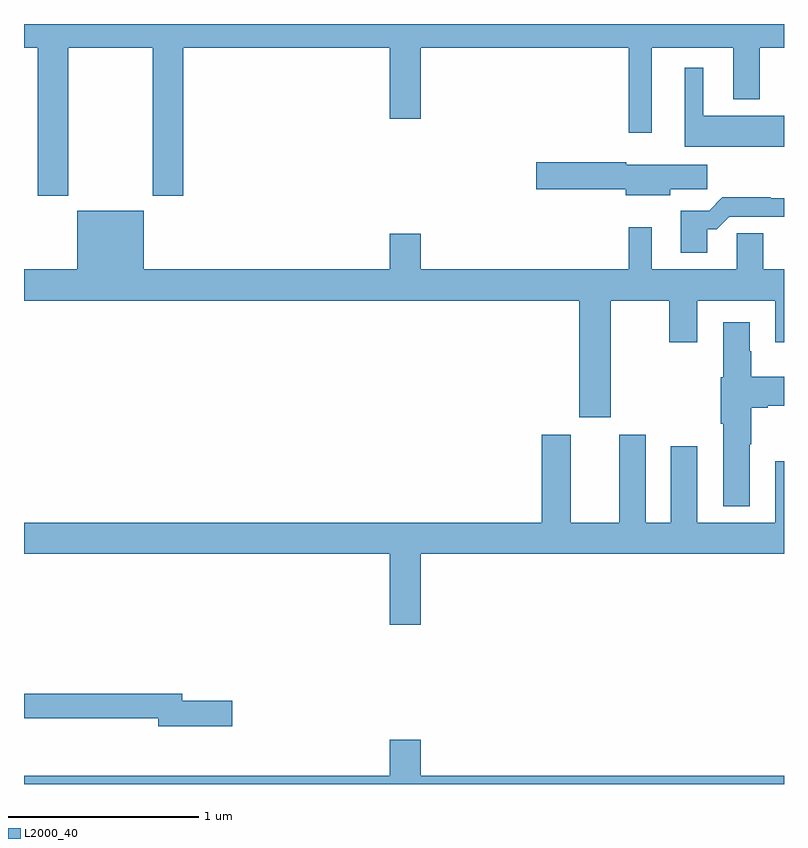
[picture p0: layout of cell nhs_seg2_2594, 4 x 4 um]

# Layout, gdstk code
import gdstk
lib = gdstk.Library(unit=1e-6, precision=1e-09)
def P(c, l, *ps):  # polygons
    for p in ps: c.add(gdstk.Polygon(p, *l))
L2000_40 = (2000, 40)

nhs_seg2_2594 = lib.new_cell('nhs_seg2_2594')
P(nhs_seg2_2594, L2000_40, [(247.233,607.676),(247.678,607.676),(247.678,606.897),(247.838,606.897),(247.838,607.676),(248.924,607.676),(248.924,607.302),(249.088,607.302),(249.088,607.676),(250.182,607.676),(250.182,607.227),(250.303,607.227),(250.303,607.676),(250.733,607.676),(250.733,607.403),(250.873,607.403),(250.873,607.676),(251,607.676),(251,607.8),(247,607.8),(247,607.676),(247.073,607.676),(247.073,606.897),(247.233,606.897)],
  [(251,607.318),(250.576,607.318),(250.576,607.57),(250.478,607.57),(250.478,607.154),(251,607.154)],
  [(250.402,606.931),(250.597,606.931),(250.597,607.06),(250.17,607.06),(250.17,607.073),(249.696,607.073),(249.696,606.931),(250.166,606.931),(250.166,606.899),(250.402,606.899)],
  [(250.597,606.719),(250.646,606.719),(250.713,606.786),(251,606.786),(251,606.884),(250.931,606.884),(250.931,606.887),(250.676,606.887),(250.606,606.817),(250.457,606.817),(250.457,606.597),(250.597,606.597)],
  [(250.087,606.344),(250.396,606.344),(250.396,606.126),(250.543,606.126),(250.543,606.344),(250.955,606.344),(250.955,606.126),(251,606.126),(251,606.508),(250.891,606.508),(250.891,606.698),(250.752,606.698),(250.752,606.508),(250.303,606.508),(250.303,606.73),(250.182,606.73),(250.182,606.508),(249.088,606.508),(249.088,606.697),(248.924,606.697),(248.924,606.508),(247.63,606.508),(247.63,606.817),(247.28,606.817),(247.28,606.508),(247,606.508),(247,606.344),(249.923,606.344),(249.923,605.73),(250.087,605.73)],
  [(250.819,605.587),(250.827,605.587),(250.827,605.78),(250.915,605.78),(250.915,605.792),(251,605.792),(251,605.944),(250.827,605.944),(250.827,606.078),(250.819,606.078),(250.819,606.229),(250.679,606.229),(250.679,605.94),(250.667,605.94),(250.667,605.696),(250.679,605.696),(250.679,605.261),(250.819,605.261)],
  [(249.088,605.012),(251,605.012),(251,605.5),(250.955,605.5),(250.955,605.176),(250.543,605.176),(250.543,605.578),(250.403,605.578),(250.403,605.176),(250.273,605.176),(250.273,605.638),(250.133,605.638),(250.133,605.176),(249.877,605.176),(249.877,605.638),(249.725,605.638),(249.725,605.176),(247,605.176),(247,605.012),(248.924,605.012),(248.924,604.638),(249.088,604.638)],
  [(248.095,604.238),(247.834,604.238),(247.834,604.274),(247,604.274),(247,604.146),(247.706,604.146),(247.706,604.103),(248.095,604.103)],
  [(251,603.844),(249.088,603.844),(249.088,604.033),(248.924,604.033),(248.924,603.844),(247,603.844),(247,603.8),(251,603.8)])

lib.write_gds('nhs_seg2_2594.gds')
